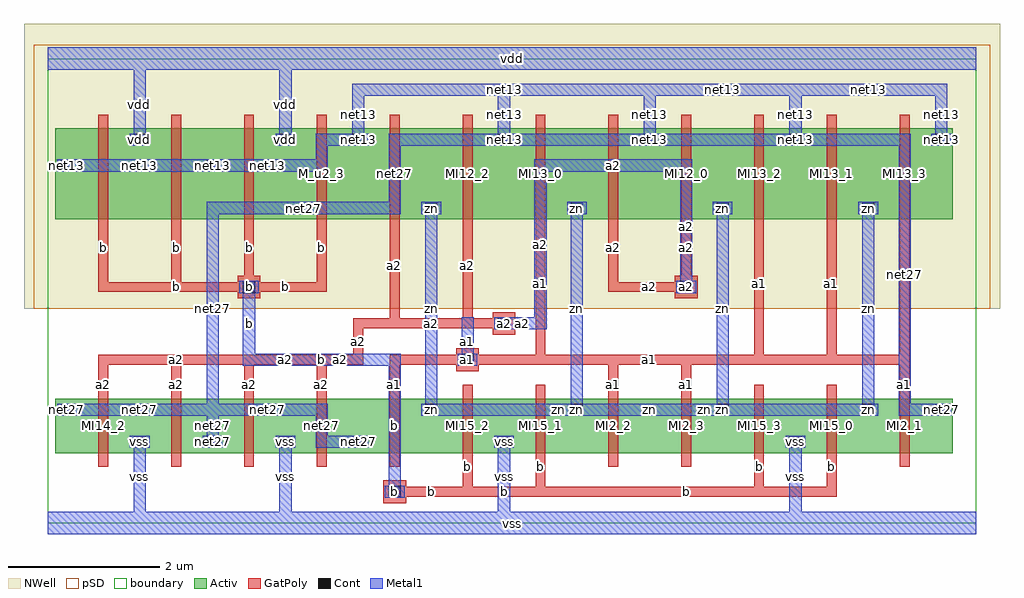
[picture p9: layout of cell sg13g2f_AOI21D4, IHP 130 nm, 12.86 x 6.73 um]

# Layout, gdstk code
import gdstk
lib = gdstk.Library(unit=1e-6, precision=1e-09)
def R(c, l, rs):  # rectangles x0, y0, x1, y1
    for r in rs: c.add(gdstk.rectangle(r[:2], r[2:], *l))
def A(c, l, x, y, w, h, nx, ny, dx, dy):  # array of equal rectangles
    R(c, l, [(x+i*dx, y+j*dy, x+i*dx+w, y+j*dy+h) for i in range(nx) for j in range(ny)])
Activ = (1, 0)
GatPoly = (5, 0)
Cont = (6, 0)
Metal1 = (8, 0)
pSD = (14, 0)
NWell = (31, 0)
TEXT = (63, 0)
boundary = (189, 4)

sg13g2f_aoi21d4 = lib.new_cell('sg13g2f_AOI21D4')
A(sg13g2f_aoi21d4, Activ, 0.105, 0.92, 1.26, 0.72, 12, 1, 0.96, 0)
A(sg13g2f_aoi21d4, Activ, 1.065, 0.92, 0.3, 0.3, 4, 1, 0.96, 0)
A(sg13g2f_aoi21d4, Activ, 4.905, 1.34, 0.3, 0.3, 4, 2, 1.92, 2.66)
A(sg13g2f_aoi21d4, Activ, 0.105, 4, 1.26, 1.2, 12, 1, 0.96, 0)
A(sg13g2f_aoi21d4, Activ, 3.945, 4.9, 0.3, 0.3, 5, 1, 1.92, 0)
R(sg13g2f_aoi21d4, Activ, [(5.865,0.92,6.165,1.22), (9.705,0.92,10.005,1.22), (0.105,1.34,0.405,1.64), (11.625,1.34,11.925,1.64), (0.105,4.56,0.405,4.86), (2.025,4.56,2.325,4.86), (1.065,4.9,1.365,5.2), (2.985,4.9,3.285,5.2)])
A(sg13g2f_aoi21d4, GatPoly, 0.67, 0.74, 0.13, 1.08, 12, 1, 0.96, 0)
A(sg13g2f_aoi21d4, GatPoly, 0.67, 1.425, 0.13, 0.79, 5, 1, 0.96, 0)
A(sg13g2f_aoi21d4, GatPoly, 9.31, 2.085, 0.13, 2.13, 3, 1, 0.96, 0)
A(sg13g2f_aoi21d4, GatPoly, 0.67, 3.045, 0.13, 1.17, 4, 1, 0.96, 0)
A(sg13g2f_aoi21d4, GatPoly, 0.67, 3.82, 0.13, 1.56, 12, 1, 0.96, 0)
R(sg13g2f_aoi21d4, GatPoly, [(4.425,0.26,4.725,0.56), (4.51,0.345,5.6,0.475), (5.47,0.345,5.6,1.135), (5.47,0.345,6.56,0.475), (6.43,0.345,6.56,1.135), (6.43,0.345,10.4,0.475), (9.31,0.345,9.44,1.135), (10.27,0.345,10.4,1.135), (7.39,1.425,7.52,2.215), (8.35,1.425,8.48,2.215), (11.23,1.425,11.36,2.215), (5.385,2,5.685,2.3), (0.67,2.085,2.72,2.215), (2.59,2.085,3.68,2.215), (3.55,2.085,4.16,2.215), (4.03,2.085,4.16,2.695), (4.51,2.085,11.36,2.215), (6.43,2.085,6.56,4.215), (5.865,2.48,6.165,2.78), (4.03,2.565,6.08,2.695), (4.51,2.565,4.64,4.215), (5.47,2.565,5.6,4.215), (2.505,2.96,2.805,3.26), (8.265,2.96,8.565,3.26), (0.67,3.045,2.72,3.175), (2.59,3.045,3.68,3.175), (7.39,3.045,8.48,3.175), (7.39,3.045,7.52,4.215), (8.35,3.045,8.48,4.215)])
A(sg13g2f_aoi21d4, Cont, 1.135, 0.99, 0.16, 0.16, 4, 1, 0.96, 0)
A(sg13g2f_aoi21d4, Cont, 4.975, 1.41, 0.16, 0.16, 4, 2, 1.92, 2.66)
A(sg13g2f_aoi21d4, Cont, 4.015, 4.97, 0.16, 0.16, 5, 1, 1.92, 0)
R(sg13g2f_aoi21d4, Cont, [(4.495,0.33,4.655,0.49), (5.935,0.99,6.095,1.15), (9.775,0.99,9.935,1.15), (0.175,1.41,0.335,1.57), (11.695,1.41,11.855,1.57), (5.455,2.07,5.615,2.23), (5.935,2.55,6.095,2.71), (2.575,3.03,2.735,3.19), (8.335,3.03,8.495,3.19), (0.175,4.63,0.335,4.79), (2.095,4.63,2.255,4.79), (1.135,4.97,1.295,5.13), (3.055,4.97,3.215,5.13)])
A(sg13g2f_aoi21d4, Metal1, 1.085, 0.99, 0.26, 0.16, 4, 1, 0.96, 0)
A(sg13g2f_aoi21d4, Metal1, 4.925, 1.41, 0.26, 0.16, 4, 2, 1.92, 2.66)
A(sg13g2f_aoi21d4, Metal1, 4.975, 1.41, 0.16, 2.82, 4, 1, 1.92, 0)
A(sg13g2f_aoi21d4, Metal1, 3.965, 4.97, 0.26, 0.16, 5, 1, 1.92, 0)
A(sg13g2f_aoi21d4, Metal1, 4.015, 4.97, 0.16, 0.82, 5, 1, 1.92, 0)
R(sg13g2f_aoi21d4, Metal1, [(0,-0.15,12.24,0.15), (1.135,0.07,1.295,1.15), (3.055,0.07,3.215,1.15), (5.935,0.07,6.095,1.15), (9.775,0.07,9.935,1.15), (4.445,0.33,4.705,0.49), (4.495,0.33,4.655,2.23), (2.095,0.99,2.255,1.57), (3.535,0.99,4.175,1.15), (3.535,0.99,3.695,1.57), (5.885,0.99,6.145,1.15), (9.725,0.99,9.985,1.15), (0.125,1.41,0.385,1.57), (0.175,1.41,2.255,1.57), (2.095,1.41,2.255,4.23), (2.095,1.41,3.695,1.57), (4.975,1.41,10.895,1.57), (6.415,1.41,7.055,1.57), (8.335,1.41,8.975,1.57), (11.215,1.41,11.855,1.57), (11.215,1.41,11.375,5.13), (11.645,1.41,11.905,1.57), (2.575,2.07,4.655,2.23), (2.575,2.07,2.735,3.19), (5.405,2.07,5.665,2.23), (5.455,2.07,5.615,2.71), (5.885,2.55,6.145,2.71), (5.935,2.55,6.575,2.71), (6.415,2.55,6.575,4.79), (2.525,3.03,2.785,3.19), (8.285,3.03,8.545,3.19), (8.335,3.03,8.495,4.79), (2.095,4.07,4.655,4.23), (4.495,4.07,4.655,5.13), (0.125,4.63,0.385,4.79), (0.175,4.63,2.255,4.79), (2.045,4.63,2.305,4.79), (2.095,4.63,3.695,4.79), (3.535,4.63,3.695,5.13), (6.415,4.63,8.495,4.79), (1.085,4.97,1.345,5.13), (1.135,4.97,1.295,6.05), (3.005,4.97,3.265,5.13), (3.055,4.97,3.215,6.05), (3.535,4.97,4.175,5.13), (4.495,4.97,11.375,5.13), (4.015,5.63,8.015,5.79), (7.855,5.63,9.935,5.79), (9.775,5.63,11.855,5.79), (0,5.97,12.24,6.27)])
R(sg13g2f_aoi21d4, pSD, [(-0.18,2.82,12.42,5.94), (-0.18,5.94,12.42,6.3)])
R(sg13g2f_aoi21d4, NWell, [(-0.31,2.82,12.55,6.58)])
R(sg13g2f_aoi21d4, boundary, [(0,0,12.24,6.12)])
sg13g2f_aoi21d4.add(gdstk.FlexPath([(0.105,0.41),(11.925,0.41)], 0, ends="flush", simple_path=True, layer=63, datatype=0))  # TEXT
sg13g2f_aoi21d4.add(gdstk.FlexPath([(0.105,1.07),(11.925,1.07)], 0, ends="flush", simple_path=True, layer=63, datatype=0))  # TEXT
sg13g2f_aoi21d4.add(gdstk.FlexPath([(0.105,1.49),(11.925,1.49)], 0, ends="flush", simple_path=True, layer=63, datatype=0))  # TEXT
sg13g2f_aoi21d4.add(gdstk.FlexPath([(0.105,2.15),(11.925,2.15)], 0, ends="flush", simple_path=True, layer=63, datatype=0))  # TEXT
sg13g2f_aoi21d4.add(gdstk.FlexPath([(0.105,2.63),(11.925,2.63)], 0, ends="flush", simple_path=True, layer=63, datatype=0))  # TEXT
sg13g2f_aoi21d4.add(gdstk.FlexPath([(0.105,3.11),(11.925,3.11)], 0, ends="flush", simple_path=True, layer=63, datatype=0))  # TEXT
sg13g2f_aoi21d4.add(gdstk.FlexPath([(0.105,4.15),(11.925,4.15)], 0, ends="flush", simple_path=True, layer=63, datatype=0))  # TEXT
sg13g2f_aoi21d4.add(gdstk.FlexPath([(0.105,4.71),(11.925,4.71)], 0, ends="flush", simple_path=True, layer=63, datatype=0))  # TEXT
sg13g2f_aoi21d4.add(gdstk.FlexPath([(0.105,5.05),(11.925,5.05)], 0, ends="flush", simple_path=True, layer=63, datatype=0))  # TEXT
sg13g2f_aoi21d4.add(gdstk.FlexPath([(0.105,5.71),(11.925,5.71)], 0, ends="flush", simple_path=True, layer=63, datatype=0))  # TEXT
sg13g2f_aoi21d4.add(gdstk.FlexPath([(0.255,0.07),(0.255,6.05)], 0, ends="flush", simple_path=True, layer=63, datatype=0))  # TEXT
sg13g2f_aoi21d4.add(gdstk.FlexPath([(0.735,0.07),(0.735,6.05)], 0, ends="flush", simple_path=True, layer=63, datatype=0))  # TEXT
sg13g2f_aoi21d4.add(gdstk.FlexPath([(1.215,0.07),(1.215,6.05)], 0, ends="flush", simple_path=True, layer=63, datatype=0))  # TEXT
sg13g2f_aoi21d4.add(gdstk.FlexPath([(1.695,0.07),(1.695,6.05)], 0, ends="flush", simple_path=True, layer=63, datatype=0))  # TEXT
sg13g2f_aoi21d4.add(gdstk.FlexPath([(2.175,0.07),(2.175,6.05)], 0, ends="flush", simple_path=True, layer=63, datatype=0))  # TEXT
sg13g2f_aoi21d4.add(gdstk.FlexPath([(2.655,0.07),(2.655,6.05)], 0, ends="flush", simple_path=True, layer=63, datatype=0))  # TEXT
sg13g2f_aoi21d4.add(gdstk.FlexPath([(3.135,0.07),(3.135,6.05)], 0, ends="flush", simple_path=True, layer=63, datatype=0))  # TEXT
sg13g2f_aoi21d4.add(gdstk.FlexPath([(3.615,0.07),(3.615,6.05)], 0, ends="flush", simple_path=True, layer=63, datatype=0))  # TEXT
sg13g2f_aoi21d4.add(gdstk.FlexPath([(4.095,0.07),(4.095,6.05)], 0, ends="flush", simple_path=True, layer=63, datatype=0))  # TEXT
sg13g2f_aoi21d4.add(gdstk.FlexPath([(4.575,0.07),(4.575,6.05)], 0, ends="flush", simple_path=True, layer=63, datatype=0))  # TEXT
sg13g2f_aoi21d4.add(gdstk.FlexPath([(5.055,0.07),(5.055,6.05)], 0, ends="flush", simple_path=True, layer=63, datatype=0))  # TEXT
sg13g2f_aoi21d4.add(gdstk.FlexPath([(5.535,0.07),(5.535,6.05)], 0, ends="flush", simple_path=True, layer=63, datatype=0))  # TEXT
sg13g2f_aoi21d4.add(gdstk.FlexPath([(6.015,0.07),(6.015,6.05)], 0, ends="flush", simple_path=True, layer=63, datatype=0))  # TEXT
sg13g2f_aoi21d4.add(gdstk.FlexPath([(6.495,0.07),(6.495,6.05)], 0, ends="flush", simple_path=True, layer=63, datatype=0))  # TEXT
sg13g2f_aoi21d4.add(gdstk.FlexPath([(6.975,0.07),(6.975,6.05)], 0, ends="flush", simple_path=True, layer=63, datatype=0))  # TEXT
sg13g2f_aoi21d4.add(gdstk.FlexPath([(7.455,0.07),(7.455,6.05)], 0, ends="flush", simple_path=True, layer=63, datatype=0))  # TEXT
sg13g2f_aoi21d4.add(gdstk.FlexPath([(7.935,0.07),(7.935,6.05)], 0, ends="flush", simple_path=True, layer=63, datatype=0))  # TEXT
sg13g2f_aoi21d4.add(gdstk.FlexPath([(8.415,0.07),(8.415,6.05)], 0, ends="flush", simple_path=True, layer=63, datatype=0))  # TEXT
sg13g2f_aoi21d4.add(gdstk.FlexPath([(8.895,0.07),(8.895,6.05)], 0, ends="flush", simple_path=True, layer=63, datatype=0))  # TEXT
sg13g2f_aoi21d4.add(gdstk.FlexPath([(9.375,0.07),(9.375,6.05)], 0, ends="flush", simple_path=True, layer=63, datatype=0))  # TEXT
sg13g2f_aoi21d4.add(gdstk.FlexPath([(9.855,0.07),(9.855,6.05)], 0, ends="flush", simple_path=True, layer=63, datatype=0))  # TEXT
sg13g2f_aoi21d4.add(gdstk.FlexPath([(10.335,0.07),(10.335,6.05)], 0, ends="flush", simple_path=True, layer=63, datatype=0))  # TEXT
sg13g2f_aoi21d4.add(gdstk.FlexPath([(10.815,0.07),(10.815,6.05)], 0, ends="flush", simple_path=True, layer=63, datatype=0))  # TEXT
sg13g2f_aoi21d4.add(gdstk.FlexPath([(11.295,0.07),(11.295,6.05)], 0, ends="flush", simple_path=True, layer=63, datatype=0))  # TEXT
sg13g2f_aoi21d4.add(gdstk.FlexPath([(11.775,0.07),(11.775,6.05)], 0, ends="flush", simple_path=True, layer=63, datatype=0))  # TEXT
sg13g2f_aoi21d4.add(gdstk.Label('zn', (5.055,1.49), layer=6, texttype=0))
sg13g2f_aoi21d4.add(gdstk.Label('zn', (10.815,1.49), layer=6, texttype=0))
sg13g2f_aoi21d4.add(gdstk.Label('zn', (6.975,1.49), layer=6, texttype=0))
sg13g2f_aoi21d4.add(gdstk.Label('zn', (8.895,1.49), layer=6, texttype=0))
sg13g2f_aoi21d4.add(gdstk.Label('zn', (8.895,4.15), layer=6, texttype=0))
sg13g2f_aoi21d4.add(gdstk.Label('zn', (5.055,4.15), layer=6, texttype=0))
sg13g2f_aoi21d4.add(gdstk.Label('zn', (6.975,4.15), layer=6, texttype=0))
sg13g2f_aoi21d4.add(gdstk.Label('zn', (10.815,4.15), layer=6, texttype=0))
sg13g2f_aoi21d4.add(gdstk.Label('a1', (5.535,2.15), layer=6, texttype=0))
sg13g2f_aoi21d4.add(gdstk.Label('net27', (4.095,1.07), layer=6, texttype=0))
sg13g2f_aoi21d4.add(gdstk.Label('net27', (11.775,1.49), layer=6, texttype=0))
sg13g2f_aoi21d4.add(gdstk.Label('net27', (2.175,1.07), layer=6, texttype=0))
sg13g2f_aoi21d4.add(gdstk.Label('net27', (0.255,1.49), layer=6, texttype=0))
sg13g2f_aoi21d4.add(gdstk.Label('b', (4.575,0.41), layer=6, texttype=0))
sg13g2f_aoi21d4.add(gdstk.Label('b', (2.655,3.11), layer=6, texttype=0))
sg13g2f_aoi21d4.add(gdstk.Label('a2', (6.015,2.63), layer=6, texttype=0))
sg13g2f_aoi21d4.add(gdstk.Label('a2', (8.415,3.11), layer=6, texttype=0))
sg13g2f_aoi21d4.add(gdstk.Label('net13', (7.935,5.05), layer=6, texttype=0))
sg13g2f_aoi21d4.add(gdstk.Label('net13', (4.095,5.05), layer=6, texttype=0))
sg13g2f_aoi21d4.add(gdstk.Label('net13', (6.015,5.05), layer=6, texttype=0))
sg13g2f_aoi21d4.add(gdstk.Label('net13', (2.175,4.71), layer=6, texttype=0))
sg13g2f_aoi21d4.add(gdstk.Label('net13', (0.255,4.71), layer=6, texttype=0))
sg13g2f_aoi21d4.add(gdstk.Label('net13', (9.855,5.05), layer=6, texttype=0))
sg13g2f_aoi21d4.add(gdstk.Label('net13', (11.775,5.05), layer=6, texttype=0))
sg13g2f_aoi21d4.add(gdstk.Label('vss', (9.855,1.07), layer=6, texttype=0))
sg13g2f_aoi21d4.add(gdstk.Label('vss', (6.015,1.07), layer=6, texttype=0))
sg13g2f_aoi21d4.add(gdstk.Label('vss', (3.135,1.07), layer=6, texttype=0))
sg13g2f_aoi21d4.add(gdstk.Label('vss', (1.215,1.07), layer=6, texttype=0))
sg13g2f_aoi21d4.add(gdstk.Label('vdd', (3.135,5.05), layer=6, texttype=0))
sg13g2f_aoi21d4.add(gdstk.Label('vdd', (1.215,5.05), layer=6, texttype=0))
sg13g2f_aoi21d4.add(gdstk.Label('net27', (4.095,1.07), layer=8, texttype=0))
sg13g2f_aoi21d4.add(gdstk.Label('net27', (11.775,1.49), layer=8, texttype=0))
sg13g2f_aoi21d4.add(gdstk.Label('net27', (2.175,1.07), layer=8, texttype=0))
sg13g2f_aoi21d4.add(gdstk.Label('net27', (0.255,1.49), layer=8, texttype=0))
sg13g2f_aoi21d4.add(gdstk.Label('net27', (3.855,1.07), layer=8, texttype=0))
sg13g2f_aoi21d4.add(gdstk.Label('net27', (3.615,1.28), layer=8, texttype=0))
sg13g2f_aoi21d4.add(gdstk.Label('net27', (2.895,1.49), layer=8, texttype=0))
sg13g2f_aoi21d4.add(gdstk.Label('net27', (2.175,2.82), layer=8, texttype=0))
sg13g2f_aoi21d4.add(gdstk.Label('net27', (3.375,4.15), layer=8, texttype=0))
sg13g2f_aoi21d4.add(gdstk.Label('net27', (4.575,4.6), layer=8, texttype=0))
sg13g2f_aoi21d4.add(gdstk.Label('net27', (7.935,5.05), layer=8, texttype=0))
sg13g2f_aoi21d4.add(gdstk.Label('net27', (11.295,3.27), layer=8, texttype=0))
sg13g2f_aoi21d4.add(gdstk.Label('net27', (11.535,1.49), layer=8, texttype=0))
sg13g2f_aoi21d4.add(gdstk.Label('net27', (2.175,1.28), layer=8, texttype=0))
sg13g2f_aoi21d4.add(gdstk.Label('net27', (1.215,1.49), layer=8, texttype=0))
sg13g2f_aoi21d4.add(gdstk.Label('net13', (7.935,5.05), layer=8, texttype=0))
sg13g2f_aoi21d4.add(gdstk.Label('net13', (4.095,5.05), layer=8, texttype=0))
sg13g2f_aoi21d4.add(gdstk.Label('net13', (6.015,5.05), layer=8, texttype=0))
sg13g2f_aoi21d4.add(gdstk.Label('net13', (2.175,4.71), layer=8, texttype=0))
sg13g2f_aoi21d4.add(gdstk.Label('net13', (0.255,4.71), layer=8, texttype=0))
sg13g2f_aoi21d4.add(gdstk.Label('net13', (9.855,5.05), layer=8, texttype=0))
sg13g2f_aoi21d4.add(gdstk.Label('net13', (11.775,5.05), layer=8, texttype=0))
sg13g2f_aoi21d4.add(gdstk.Label('net13', (7.935,5.38), layer=8, texttype=0))
sg13g2f_aoi21d4.add(gdstk.Label('net13', (6.015,5.71), layer=8, texttype=0))
sg13g2f_aoi21d4.add(gdstk.Label('net13', (4.095,5.38), layer=8, texttype=0))
sg13g2f_aoi21d4.add(gdstk.Label('net13', (6.015,5.38), layer=8, texttype=0))
sg13g2f_aoi21d4.add(gdstk.Label('net13', (3.855,5.05), layer=8, texttype=0))
sg13g2f_aoi21d4.add(gdstk.Label('net13', (3.615,4.88), layer=8, texttype=0))
sg13g2f_aoi21d4.add(gdstk.Label('net13', (2.895,4.71), layer=8, texttype=0))
sg13g2f_aoi21d4.add(gdstk.Label('net13', (1.215,4.71), layer=8, texttype=0))
sg13g2f_aoi21d4.add(gdstk.Label('net13', (8.895,5.71), layer=8, texttype=0))
sg13g2f_aoi21d4.add(gdstk.Label('net13', (9.855,5.38), layer=8, texttype=0))
sg13g2f_aoi21d4.add(gdstk.Label('net13', (10.815,5.71), layer=8, texttype=0))
sg13g2f_aoi21d4.add(gdstk.Label('net13', (11.775,5.38), layer=8, texttype=0))
sg13g2f_aoi21d4.add(gdstk.Label('vss', (9.855,1.07), layer=8, texttype=0))
sg13g2f_aoi21d4.add(gdstk.Label('vss', (9.855,0.61), layer=8, texttype=0))
sg13g2f_aoi21d4.add(gdstk.Label('vss', (6.015,1.07), layer=8, texttype=0))
sg13g2f_aoi21d4.add(gdstk.Label('vss', (6.015,0.61), layer=8, texttype=0))
sg13g2f_aoi21d4.add(gdstk.Label('vss', (3.135,1.07), layer=8, texttype=0))
sg13g2f_aoi21d4.add(gdstk.Label('vss', (3.135,0.61), layer=8, texttype=0))
sg13g2f_aoi21d4.add(gdstk.Label('vss', (1.215,1.07), layer=8, texttype=0))
sg13g2f_aoi21d4.add(gdstk.Label('vss', (1.215,0.61), layer=8, texttype=0))
sg13g2f_aoi21d4.add(gdstk.Label('vdd', (3.135,5.05), layer=8, texttype=0))
sg13g2f_aoi21d4.add(gdstk.Label('vdd', (3.135,5.51), layer=8, texttype=0))
sg13g2f_aoi21d4.add(gdstk.Label('vdd', (1.215,5.05), layer=8, texttype=0))
sg13g2f_aoi21d4.add(gdstk.Label('vdd', (1.215,5.51), layer=8, texttype=0))
sg13g2f_aoi21d4.add(gdstk.Label('zn', (5.055,1.49), layer=8, texttype=2))
sg13g2f_aoi21d4.add(gdstk.Label('zn', (10.815,1.49), layer=8, texttype=2))
sg13g2f_aoi21d4.add(gdstk.Label('zn', (6.975,1.49), layer=8, texttype=2))
sg13g2f_aoi21d4.add(gdstk.Label('zn', (8.895,1.49), layer=8, texttype=2))
sg13g2f_aoi21d4.add(gdstk.Label('zn', (8.895,4.15), layer=8, texttype=2))
sg13g2f_aoi21d4.add(gdstk.Label('zn', (5.055,4.15), layer=8, texttype=2))
sg13g2f_aoi21d4.add(gdstk.Label('zn', (6.975,4.15), layer=8, texttype=2))
sg13g2f_aoi21d4.add(gdstk.Label('zn', (10.815,4.15), layer=8, texttype=2))
sg13g2f_aoi21d4.add(gdstk.Label('zn', (7.935,1.49), layer=8, texttype=2))
sg13g2f_aoi21d4.add(gdstk.Label('zn', (6.735,1.49), layer=8, texttype=2))
sg13g2f_aoi21d4.add(gdstk.Label('zn', (8.655,1.49), layer=8, texttype=2))
sg13g2f_aoi21d4.add(gdstk.Label('zn', (8.895,2.82), layer=8, texttype=2))
sg13g2f_aoi21d4.add(gdstk.Label('zn', (5.055,2.82), layer=8, texttype=2))
sg13g2f_aoi21d4.add(gdstk.Label('zn', (6.975,2.82), layer=8, texttype=2))
sg13g2f_aoi21d4.add(gdstk.Label('zn', (10.815,2.82), layer=8, texttype=2))
sg13g2f_aoi21d4.add(gdstk.Label('a1', (5.535,2.15), layer=8, texttype=2))
sg13g2f_aoi21d4.add(gdstk.Label('a1', (5.535,2.39), layer=8, texttype=2))
sg13g2f_aoi21d4.add(gdstk.Label('b', (4.575,0.41), layer=8, texttype=2))
sg13g2f_aoi21d4.add(gdstk.Label('b', (4.575,1.28), layer=8, texttype=2))
sg13g2f_aoi21d4.add(gdstk.Label('b', (3.615,2.15), layer=8, texttype=2))
sg13g2f_aoi21d4.add(gdstk.Label('b', (2.655,2.63), layer=8, texttype=2))
sg13g2f_aoi21d4.add(gdstk.Label('b', (2.655,3.11), layer=8, texttype=2))
sg13g2f_aoi21d4.add(gdstk.Label('a2', (6.015,2.63), layer=8, texttype=2))
sg13g2f_aoi21d4.add(gdstk.Label('a2', (6.255,2.63), layer=8, texttype=2))
sg13g2f_aoi21d4.add(gdstk.Label('a2', (6.495,3.67), layer=8, texttype=2))
sg13g2f_aoi21d4.add(gdstk.Label('a2', (7.455,4.71), layer=8, texttype=2))
sg13g2f_aoi21d4.add(gdstk.Label('a2', (8.415,3.91), layer=8, texttype=2))
sg13g2f_aoi21d4.add(gdstk.Label('a2', (8.415,3.11), layer=8, texttype=2))
sg13g2f_aoi21d4.add(gdstk.Label('vss', (6.12,0), layer=8, texttype=2))
sg13g2f_aoi21d4.add(gdstk.Label('vdd', (6.12,6.12), layer=8, texttype=2))
sg13g2f_aoi21d4.add(gdstk.Label('zn', (5.055,1.49), layer=8, texttype=2))
sg13g2f_aoi21d4.add(gdstk.Label('zn', (10.815,1.49), layer=8, texttype=2))
sg13g2f_aoi21d4.add(gdstk.Label('zn', (6.975,1.49), layer=8, texttype=2))
sg13g2f_aoi21d4.add(gdstk.Label('zn', (8.895,1.49), layer=8, texttype=2))
sg13g2f_aoi21d4.add(gdstk.Label('zn', (8.895,4.15), layer=8, texttype=2))
sg13g2f_aoi21d4.add(gdstk.Label('zn', (5.055,4.15), layer=8, texttype=2))
sg13g2f_aoi21d4.add(gdstk.Label('zn', (6.975,4.15), layer=8, texttype=2))
sg13g2f_aoi21d4.add(gdstk.Label('zn', (10.815,4.15), layer=8, texttype=2))
sg13g2f_aoi21d4.add(gdstk.Label('zn', (7.935,1.49), layer=8, texttype=2))
sg13g2f_aoi21d4.add(gdstk.Label('zn', (6.735,1.49), layer=8, texttype=2))
sg13g2f_aoi21d4.add(gdstk.Label('zn', (8.655,1.49), layer=8, texttype=2))
sg13g2f_aoi21d4.add(gdstk.Label('zn', (8.895,2.82), layer=8, texttype=2))
sg13g2f_aoi21d4.add(gdstk.Label('zn', (5.055,2.82), layer=8, texttype=2))
sg13g2f_aoi21d4.add(gdstk.Label('zn', (6.975,2.82), layer=8, texttype=2))
sg13g2f_aoi21d4.add(gdstk.Label('zn', (10.815,2.82), layer=8, texttype=2))
sg13g2f_aoi21d4.add(gdstk.Label('a1', (5.535,2.15), layer=8, texttype=2))
sg13g2f_aoi21d4.add(gdstk.Label('a1', (5.535,2.39), layer=8, texttype=2))
sg13g2f_aoi21d4.add(gdstk.Label('b', (4.575,0.41), layer=8, texttype=2))
sg13g2f_aoi21d4.add(gdstk.Label('b', (4.575,1.28), layer=8, texttype=2))
sg13g2f_aoi21d4.add(gdstk.Label('b', (3.615,2.15), layer=8, texttype=2))
sg13g2f_aoi21d4.add(gdstk.Label('b', (2.655,2.63), layer=8, texttype=2))
sg13g2f_aoi21d4.add(gdstk.Label('b', (2.655,3.11), layer=8, texttype=2))
sg13g2f_aoi21d4.add(gdstk.Label('a2', (6.015,2.63), layer=8, texttype=2))
sg13g2f_aoi21d4.add(gdstk.Label('a2', (6.255,2.63), layer=8, texttype=2))
sg13g2f_aoi21d4.add(gdstk.Label('a2', (6.495,3.67), layer=8, texttype=2))
sg13g2f_aoi21d4.add(gdstk.Label('a2', (7.455,4.71), layer=8, texttype=2))
sg13g2f_aoi21d4.add(gdstk.Label('a2', (8.415,3.91), layer=8, texttype=2))
sg13g2f_aoi21d4.add(gdstk.Label('a2', (8.415,3.11), layer=8, texttype=2))
sg13g2f_aoi21d4.add(gdstk.Label('vss', (6.12,0), layer=8, texttype=2))
sg13g2f_aoi21d4.add(gdstk.Label('vdd', (6.12,6.12), layer=8, texttype=2))
sg13g2f_aoi21d4.add(gdstk.Label('MI2_0', (4.575,1.28), layer=1, texttype=0))
sg13g2f_aoi21d4.add(gdstk.Label('MI2_1', (11.295,1.28), layer=1, texttype=0))
sg13g2f_aoi21d4.add(gdstk.Label('MI2_2', (7.455,1.28), layer=1, texttype=0))
sg13g2f_aoi21d4.add(gdstk.Label('MI2_3', (8.415,1.28), layer=1, texttype=0))
sg13g2f_aoi21d4.add(gdstk.Label('MI15_0', (10.335,1.28), layer=1, texttype=0))
sg13g2f_aoi21d4.add(gdstk.Label('MI15_1', (6.495,1.28), layer=1, texttype=0))
sg13g2f_aoi21d4.add(gdstk.Label('MI15_2', (5.535,1.28), layer=1, texttype=0))
sg13g2f_aoi21d4.add(gdstk.Label('MI15_3', (9.375,1.28), layer=1, texttype=0))
sg13g2f_aoi21d4.add(gdstk.Label('MI14_0', (2.655,1.28), layer=1, texttype=0))
sg13g2f_aoi21d4.add(gdstk.Label('MI14_1', (3.615,1.28), layer=1, texttype=0))
sg13g2f_aoi21d4.add(gdstk.Label('MI14_2', (0.735,1.28), layer=1, texttype=0))
sg13g2f_aoi21d4.add(gdstk.Label('MI14_3', (1.695,1.28), layer=1, texttype=0))
sg13g2f_aoi21d4.add(gdstk.Label('MI12_0', (8.415,4.6), layer=1, texttype=0))
sg13g2f_aoi21d4.add(gdstk.Label('MI12_1', (4.575,4.6), layer=1, texttype=0))
sg13g2f_aoi21d4.add(gdstk.Label('MI12_2', (5.535,4.6), layer=1, texttype=0))
sg13g2f_aoi21d4.add(gdstk.Label('MI12_3', (7.455,4.6), layer=1, texttype=0))
sg13g2f_aoi21d4.add(gdstk.Label('M_u2_0', (2.655,4.6), layer=1, texttype=0))
sg13g2f_aoi21d4.add(gdstk.Label('M_u2_1', (0.735,4.6), layer=1, texttype=0))
sg13g2f_aoi21d4.add(gdstk.Label('M_u2_2', (1.695,4.6), layer=1, texttype=0))
sg13g2f_aoi21d4.add(gdstk.Label('M_u2_3', (3.615,4.6), layer=1, texttype=0))
sg13g2f_aoi21d4.add(gdstk.Label('MI13_0', (6.495,4.6), layer=1, texttype=0))
sg13g2f_aoi21d4.add(gdstk.Label('MI13_1', (10.335,4.6), layer=1, texttype=0))
sg13g2f_aoi21d4.add(gdstk.Label('MI13_2', (9.375,4.6), layer=1, texttype=0))
sg13g2f_aoi21d4.add(gdstk.Label('MI13_3', (11.295,4.6), layer=1, texttype=0))
sg13g2f_aoi21d4.add(gdstk.Label('zn', (5.055,1.49), layer=1, texttype=0))
sg13g2f_aoi21d4.add(gdstk.Label('zn', (10.815,1.49), layer=1, texttype=0))
sg13g2f_aoi21d4.add(gdstk.Label('zn', (6.975,1.49), layer=1, texttype=0))
sg13g2f_aoi21d4.add(gdstk.Label('zn', (8.895,1.49), layer=1, texttype=0))
sg13g2f_aoi21d4.add(gdstk.Label('zn', (8.895,4.15), layer=1, texttype=0))
sg13g2f_aoi21d4.add(gdstk.Label('zn', (5.055,4.15), layer=1, texttype=0))
sg13g2f_aoi21d4.add(gdstk.Label('zn', (6.975,4.15), layer=1, texttype=0))
sg13g2f_aoi21d4.add(gdstk.Label('zn', (10.815,4.15), layer=1, texttype=0))
sg13g2f_aoi21d4.add(gdstk.Label('net27', (4.095,1.07), layer=1, texttype=0))
sg13g2f_aoi21d4.add(gdstk.Label('net27', (11.775,1.49), layer=1, texttype=0))
sg13g2f_aoi21d4.add(gdstk.Label('net27', (2.175,1.07), layer=1, texttype=0))
sg13g2f_aoi21d4.add(gdstk.Label('net27', (0.255,1.49), layer=1, texttype=0))
sg13g2f_aoi21d4.add(gdstk.Label('net13', (7.935,5.05), layer=1, texttype=0))
sg13g2f_aoi21d4.add(gdstk.Label('net13', (4.095,5.05), layer=1, texttype=0))
sg13g2f_aoi21d4.add(gdstk.Label('net13', (6.015,5.05), layer=1, texttype=0))
sg13g2f_aoi21d4.add(gdstk.Label('net13', (2.175,4.71), layer=1, texttype=0))
sg13g2f_aoi21d4.add(gdstk.Label('net13', (0.255,4.71), layer=1, texttype=0))
sg13g2f_aoi21d4.add(gdstk.Label('net13', (9.855,5.05), layer=1, texttype=0))
sg13g2f_aoi21d4.add(gdstk.Label('net13', (11.775,5.05), layer=1, texttype=0))
sg13g2f_aoi21d4.add(gdstk.Label('vss', (9.855,1.07), layer=1, texttype=0))
sg13g2f_aoi21d4.add(gdstk.Label('vss', (6.015,1.07), layer=1, texttype=0))
sg13g2f_aoi21d4.add(gdstk.Label('vss', (3.135,1.07), layer=1, texttype=0))
sg13g2f_aoi21d4.add(gdstk.Label('vss', (1.215,1.07), layer=1, texttype=0))
sg13g2f_aoi21d4.add(gdstk.Label('vdd', (3.135,5.05), layer=1, texttype=0))
sg13g2f_aoi21d4.add(gdstk.Label('vdd', (1.215,5.05), layer=1, texttype=0))
sg13g2f_aoi21d4.add(gdstk.Label('zn', (5.055,1.49), layer=8, texttype=25))
sg13g2f_aoi21d4.add(gdstk.Label('zn', (10.815,1.49), layer=8, texttype=25))
sg13g2f_aoi21d4.add(gdstk.Label('zn', (6.975,1.49), layer=8, texttype=25))
sg13g2f_aoi21d4.add(gdstk.Label('zn', (8.895,1.49), layer=8, texttype=25))
sg13g2f_aoi21d4.add(gdstk.Label('zn', (8.895,4.15), layer=8, texttype=25))
sg13g2f_aoi21d4.add(gdstk.Label('zn', (5.055,4.15), layer=8, texttype=25))
sg13g2f_aoi21d4.add(gdstk.Label('zn', (6.975,4.15), layer=8, texttype=25))
sg13g2f_aoi21d4.add(gdstk.Label('zn', (10.815,4.15), layer=8, texttype=25))
sg13g2f_aoi21d4.add(gdstk.Label('zn', (7.935,1.49), layer=8, texttype=25))
sg13g2f_aoi21d4.add(gdstk.Label('zn', (6.735,1.49), layer=8, texttype=25))
sg13g2f_aoi21d4.add(gdstk.Label('zn', (8.655,1.49), layer=8, texttype=25))
sg13g2f_aoi21d4.add(gdstk.Label('zn', (8.895,2.82), layer=8, texttype=25))
sg13g2f_aoi21d4.add(gdstk.Label('zn', (5.055,2.82), layer=8, texttype=25))
sg13g2f_aoi21d4.add(gdstk.Label('zn', (6.975,2.82), layer=8, texttype=25))
sg13g2f_aoi21d4.add(gdstk.Label('zn', (10.815,2.82), layer=8, texttype=25))
sg13g2f_aoi21d4.add(gdstk.Label('a1', (5.535,2.15), layer=8, texttype=25))
sg13g2f_aoi21d4.add(gdstk.Label('a1', (5.535,2.39), layer=8, texttype=25))
sg13g2f_aoi21d4.add(gdstk.Label('b', (4.575,0.41), layer=8, texttype=25))
sg13g2f_aoi21d4.add(gdstk.Label('b', (4.575,1.28), layer=8, texttype=25))
sg13g2f_aoi21d4.add(gdstk.Label('b', (3.615,2.15), layer=8, texttype=25))
sg13g2f_aoi21d4.add(gdstk.Label('b', (2.655,2.63), layer=8, texttype=25))
sg13g2f_aoi21d4.add(gdstk.Label('b', (2.655,3.11), layer=8, texttype=25))
sg13g2f_aoi21d4.add(gdstk.Label('a2', (6.015,2.63), layer=8, texttype=25))
sg13g2f_aoi21d4.add(gdstk.Label('a2', (6.255,2.63), layer=8, texttype=25))
sg13g2f_aoi21d4.add(gdstk.Label('a2', (6.495,3.67), layer=8, texttype=25))
sg13g2f_aoi21d4.add(gdstk.Label('a2', (7.455,4.71), layer=8, texttype=25))
sg13g2f_aoi21d4.add(gdstk.Label('a2', (8.415,3.91), layer=8, texttype=25))
sg13g2f_aoi21d4.add(gdstk.Label('a2', (8.415,3.11), layer=8, texttype=25))
sg13g2f_aoi21d4.add(gdstk.Label('vss', (6.12,0), layer=8, texttype=25))
sg13g2f_aoi21d4.add(gdstk.Label('vdd', (6.12,6.12), layer=8, texttype=25))
sg13g2f_aoi21d4.add(gdstk.Label('a1', (4.575,1.82), layer=5, texttype=0))
sg13g2f_aoi21d4.add(gdstk.Label('a1', (7.935,2.15), layer=5, texttype=0))
sg13g2f_aoi21d4.add(gdstk.Label('a1', (11.295,1.82), layer=5, texttype=0))
sg13g2f_aoi21d4.add(gdstk.Label('a1', (7.455,1.82), layer=5, texttype=0))
sg13g2f_aoi21d4.add(gdstk.Label('a1', (8.415,1.82), layer=5, texttype=0))
sg13g2f_aoi21d4.add(gdstk.Label('a1', (6.495,3.15), layer=5, texttype=0))
sg13g2f_aoi21d4.add(gdstk.Label('a1', (10.335,3.15), layer=5, texttype=0))
sg13g2f_aoi21d4.add(gdstk.Label('a1', (9.375,3.15), layer=5, texttype=0))
sg13g2f_aoi21d4.add(gdstk.Label('a1', (11.295,3.15), layer=5, texttype=0))
sg13g2f_aoi21d4.add(gdstk.Label('a1', (5.535,2.15), layer=5, texttype=0))
sg13g2f_aoi21d4.add(gdstk.Label('b', (10.335,0.74), layer=5, texttype=0))
sg13g2f_aoi21d4.add(gdstk.Label('b', (8.415,0.41), layer=5, texttype=0))
sg13g2f_aoi21d4.add(gdstk.Label('b', (6.495,0.74), layer=5, texttype=0))
sg13g2f_aoi21d4.add(gdstk.Label('b', (6.015,0.41), layer=5, texttype=0))
sg13g2f_aoi21d4.add(gdstk.Label('b', (5.535,0.74), layer=5, texttype=0))
sg13g2f_aoi21d4.add(gdstk.Label('b', (9.375,0.74), layer=5, texttype=0))
sg13g2f_aoi21d4.add(gdstk.Label('b', (5.055,0.41), layer=5, texttype=0))
sg13g2f_aoi21d4.add(gdstk.Label('b', (4.575,0.41), layer=5, texttype=0))
sg13g2f_aoi21d4.add(gdstk.Label('b', (2.655,3.11), layer=5, texttype=0))
sg13g2f_aoi21d4.add(gdstk.Label('b', (2.655,3.63), layer=5, texttype=0))
sg13g2f_aoi21d4.add(gdstk.Label('b', (1.695,3.11), layer=5, texttype=0))
sg13g2f_aoi21d4.add(gdstk.Label('b', (0.735,3.63), layer=5, texttype=0))
sg13g2f_aoi21d4.add(gdstk.Label('b', (1.695,3.63), layer=5, texttype=0))
sg13g2f_aoi21d4.add(gdstk.Label('b', (3.135,3.11), layer=5, texttype=0))
sg13g2f_aoi21d4.add(gdstk.Label('b', (3.615,3.63), layer=5, texttype=0))
sg13g2f_aoi21d4.add(gdstk.Label('a2', (2.655,1.82), layer=5, texttype=0))
sg13g2f_aoi21d4.add(gdstk.Label('a2', (3.135,2.15), layer=5, texttype=0))
sg13g2f_aoi21d4.add(gdstk.Label('a2', (3.615,1.82), layer=5, texttype=0))
sg13g2f_aoi21d4.add(gdstk.Label('a2', (1.695,2.15), layer=5, texttype=0))
sg13g2f_aoi21d4.add(gdstk.Label('a2', (0.735,1.82), layer=5, texttype=0))
sg13g2f_aoi21d4.add(gdstk.Label('a2', (1.695,1.82), layer=5, texttype=0))
sg13g2f_aoi21d4.add(gdstk.Label('a2', (3.855,2.15), layer=5, texttype=0))
sg13g2f_aoi21d4.add(gdstk.Label('a2', (4.095,2.39), layer=5, texttype=0))
sg13g2f_aoi21d4.add(gdstk.Label('a2', (5.055,2.63), layer=5, texttype=0))
sg13g2f_aoi21d4.add(gdstk.Label('a2', (6.015,2.63), layer=5, texttype=0))
sg13g2f_aoi21d4.add(gdstk.Label('a2', (8.415,3.11), layer=5, texttype=0))
sg13g2f_aoi21d4.add(gdstk.Label('a2', (8.415,3.63), layer=5, texttype=0))
sg13g2f_aoi21d4.add(gdstk.Label('a2', (4.575,3.39), layer=5, texttype=0))
sg13g2f_aoi21d4.add(gdstk.Label('a2', (5.535,3.39), layer=5, texttype=0))
sg13g2f_aoi21d4.add(gdstk.Label('a2', (7.935,3.11), layer=5, texttype=0))
sg13g2f_aoi21d4.add(gdstk.Label('a2', (7.455,3.63), layer=5, texttype=0))

lib.write_gds('sg13g2f_AOI21D4.gds')
